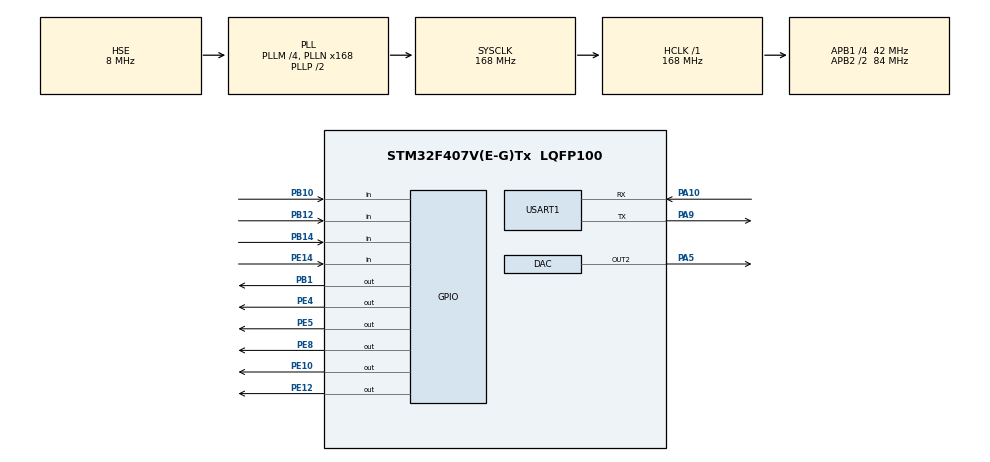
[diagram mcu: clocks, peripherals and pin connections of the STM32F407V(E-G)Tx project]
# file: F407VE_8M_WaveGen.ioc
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Mcu.Family=STM32F4
PE12.GPIO_ModeDefaultOutputPP=GPIO_MODE_OUTPUT_PP
Dma.DAC2.0.MemDataAlignment=DMA_MDATAALIGN_HALFWORD
PE8.PinState=GPIO_PIN_SET
PH0-OSC_IN.Signal=RCC_OSC_IN
PE4.GPIO_ModeDefaultOutputPP=GPIO_MODE_OUTPUT_PP
RCC.CortexFreq_Value=168000000
PB10.GPIO_PuPd=GPIO_PULLDOWN
PE8.GPIO_PuPd=GPIO_PULLUP
PE10.GPIO_PuPd=GPIO_PULLUP
RCC.SYSCLKSource=RCC_SYSCLKSOURCE_PLLCLK
ProjectManager.StackSize=0x400
SH.COMP_DAC2_group.0=DAC_OUT2,DAC_OUT2
Dma.DAC2.0.PeriphInc=DMA_PINC_DISABLE
PE5.GPIO_PuPd=GPIO_PULLUP
PB1.GPIO_PuPd=GPIO_PULLUP
Dma.DAC2.0.Priority=DMA_PRIORITY_LOW
RCC.HCLKFreq_Value=168000000
RCC.APB2TimFreq_Value=168000000
PE5.Signal=GPIO_Output
Dma.DAC2.0.Direction=DMA_MEMORY_TO_PERIPH
RCC.AHBFreq_Value=168000000
PH0-OSC_IN.Mode=HSE-External-Oscillator
RCC.HSE_VALUE=8000000
DAC.DAC_Trigger2=DAC_TRIGGER_T2_TRGO
PC14-OSC32_IN.Mode=LSE-External-Oscillator
PB1.GPIO_Speed=GPIO_SPEED_FREQ_VERY_HIGH
PA14.Mode=Serial_Wire
PE4.GPIO_Speed=GPIO_SPEED_FREQ_VERY_HIGH
PE5.PinState=GPIO_PIN_SET
PE10.GPIO_ModeDefaultOutputPP=GPIO_MODE_OUTPUT_PP
PE10.GPIO_Speed=GPIO_SPEED_FREQ_VERY_HIGH
PE10.Signal=GPIO_Output
PE4.Signal=GPIO_Output
Dma.DAC2.0.MemInc=DMA_MINC_ENABLE
PB1.PinState=GPIO_PIN_SET
PH1-OSC_OUT.Mode=HSE-External-Oscillator
PB12.GPIO_Mode=GPIO_MODE_INPUT
Mcu.Package=LQFP100
PB1.Signal=GPIO_Output
PB14.GPIO_PuPd=GPIO_PULLDOWN
PA10.Signal=USART1_RX
PE12.GPIO_Speed=GPIO_SPEED_FREQ_VERY_HIGH
TIM2.TIM_MasterOutputTrigger=TIM_TRGO_UPDATE
PE8.GPIO_Speed=GPIO_SPEED_FREQ_VERY_HIGH
RCC.APB2CLKDivider=RCC_HCLK_DIV2
RCC.APB1TimFreq_Value=84000000
PE8.GPIO_ModeDefaultOutputPP=GPIO_MODE_OUTPUT_PP
PE14.GPIO_Mode=GPIO_MODE_INPUT
NVIC.USART1_IRQn=true\:0\:0\:false\:false\:true\:true\:true
NVIC.DMA1_Stream6_IRQn=true\:0\:0\:false\:false\:true\:false\:true
Dma.Request0=DAC2
PE12.GPIO_PuPd=GPIO_PULLUP
PE10.PinState=GPIO_PIN_SET
RCC.PLLSourceVirtual=RCC_PLLSOURCE_HSE
PC15-OSC32_OUT.Mode=LSE-External-Oscillator
PA10.Mode=Asynchronous
RCC.APB1CLKDivider=RCC_HCLK_DIV4
PC14-OSC32_IN.Signal=RCC_OSC32_IN
PA13.Signal=SYS_JTMS-SWDIO
PA9.Mode=Asynchronous
PB10.GPIO_Mode=GPIO_MODE_INPUT
ProjectManager.TargetToolchain=MDK-ARM V5.27
PA9.Signal=USART1_TX
PC15-OSC32_OUT.Signal=RCC_OSC32_OUT
PB10.Signal=GPIO_Input
PB14.Signal=GPIO_Input
PA5.Signal=COMP_DAC2_group
board=custom
RCC.VCOOutputFreq_Value=336000000
RCC.APB2Freq_Value=84000000
PE14.Signal=GPIO_Input
VP_TIM2_VS_ClockSourceINT.Mode=Internal
PE8.Signal=GPIO_Output
PH1-OSC_OUT.Signal=RCC_OSC_OUT
Dma.DAC2.0.Instance=DMA1_Stream6
Dma.DAC2.0.PeriphDataAlignment=DMA_PDATAALIGN_HALFWORD
PE14.GPIO_PuPd=GPIO_PULLDOWN
PA13.Mode=Serial_Wire
Mcu.Name=STM32F407V(E-G)Tx
PE12.Signal=GPIO_Output
PE4.GPIO_PuPd=GPIO_PULLUP
PE12.PinState=GPIO_PIN_SET
RCC.48MHZClocksFreq_Value=84000000
RCC.SYSCLKFreq_VALUE=168000000
Dma.DAC2.0.FIFOMode=DMA_FIFOMODE_DISABLE
Dma.DAC2.0.Mode=DMA_CIRCULAR
USART1.VirtualMode=VM_ASYNC
PA14.Signal=SYS_JTCK-SWCLK
ProjectManager.HeapSize=0x200
PE5.GPIO_ModeDefaultOutputPP=GPIO_MODE_OUTPUT_PP
RCC.HSI_VALUE=16000000
NVIC.PriorityGroup=NVIC_PRIORITYGROUP_4
RCC.PLLM=4
RCC.PLLN=168
TIM2.TIM_MasterSlaveMode=TIM_MASTERSLAVEMODE_ENABLE
PE5.GPIO_Speed=GPIO_SPEED_FREQ_VERY_HIGH
PE4.PinState=GPIO_PIN_SET
PB1.GPIO_ModeDefaultOutputPP=GPIO_MODE_OUTPUT_PP
PB12.GPIO_PuPd=GPIO_PULLDOWN
RCC.APB1Freq_Value=42000000
PB14.GPIO_Mode=GPIO_MODE_INPUT
PB12.Signal=GPIO_Input

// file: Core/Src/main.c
/* USER CODE BEGIN Header */
/**
  ******************************************************************************
  * @file           : main.c
  * @brief          : Main program body
  ******************************************************************************
  * @attention
  *
  * <h2><center>&copy; Copyright (c) 2020 STMicroelectronics.
  * All rights reserved.</center></h2>
  *
  * This software component is licensed by ST under BSD 3-Clause license,
  * the "License"; You may not use this file except in compliance with the
  * License. You may obtain a copy of the License at:
  *                        opensource.org/licenses/BSD-3-Clause
  *
  ******************************************************************************
  */
/* USER CODE END Header */
#include "main.h"
#include "dac.h"
#include "dma.h"
#include "tim.h"
#include "usart.h"
#include "gpio.h"

/* USER CODE BEGIN Includes */
#include "DELAY/delay.h"
#include "WAVEGEN/wavegen.h"
#include "KEY/key.h"
/* USER CODE END Includes */

void SystemClock_Config(void);

int main(void)
{
  /* USER CODE BEGIN 1 */
  uint8_t state=0;
  /* USER CODE END 1 */

  /* MCU Configuration--------------------------------------------------------*/

  /* Reset of all peripherals, Initializes the Flash interface and the Systick. */
  HAL_Init();

  /* Configure the system clock */
  SystemClock_Config();

  /* Initialize all configured peripherals */
  MX_GPIO_Init();
  MX_DMA_Init();
  MX_USART1_UART_Init();
  MX_TIM2_Init();
  MX_DAC_Init();
  /* USER CODE BEGIN 2 */
    WaveGen_TimerInit();
    WaveGen_DACInit();
    WaveGen_DMAInit();
    Delay_Init(168);
    Key_Init();
    WaveGen_setDataBuffer(WAVEGEN_WAVETYPE_SINE,4095,WAVEGEN_BUFFER_MAX_SIZE);
  /* USER CODE END 2 */

  /* Infinite loop */
  /* USER CODE BEGIN WHILE */
  uint8_t key;
  while (1)
  {
    /* USER CODE END WHILE */

    /* USER CODE BEGIN 3 */
      Delay_ms(200);
      key=Key_Scan();
      if(key==1)
      {
        state++;
        state%=5;
      }
      if(state==0)
      {
          WaveGen_setPWMState(1);
      }
      else if(state==1)
      {
          WaveGen_setDataBuffer(WAVEGEN_WAVETYPE_SINE,4095,WAVEGEN_BUFFER_MAX_SIZE);
          WaveGen_setPWMState(0);
      }
      else if(state==2)
      {
          WaveGen_setDataBuffer(WAVEGEN_WAVETYPE_RAMP,4095,WAVEGEN_BUFFER_MAX_SIZE);
          WaveGen_setPWMState(0);
      }
      else if(state==3)
      {
          WaveGen_setDataBuffer(WAVEGEN_WAVETYPE_SQUARE,4095,WAVEGEN_BUFFER_MAX_SIZE);
          WaveGen_setPWMState(0);
      }
      else if(state==4)
      {
          WaveGen_setDataBuffer(WAVEGEN_WAVETYPE_TRIANGLE,4095,WAVEGEN_BUFFER_MAX_SIZE);
          WaveGen_setPWMState(0);
      }

  }
  /* USER CODE END 3 */
}

void SystemClock_Config(void)
{
  RCC_OscInitTypeDef RCC_OscInitStruct = {0};
  RCC_ClkInitTypeDef RCC_ClkInitStruct = {0};

  /** Configure the main internal regulator output voltage
  */
  __HAL_RCC_PWR_CLK_ENABLE();
  __HAL_PWR_VOLTAGESCALING_CONFIG(PWR_REGULATOR_VOLTAGE_SCALE1);
  /** Initializes the RCC Oscillators according to the specified parameters
  * in the RCC_OscInitTypeDef structure.
  */
  RCC_OscInitStruct.OscillatorType = RCC_OSCILLATORTYPE_HSE;
  RCC_OscInitStruct.HSEState = RCC_HSE_ON;
  RCC_OscInitStruct.PLL.PLLState = RCC_PLL_ON;
  RCC_OscInitStruct.PLL.PLLSource = RCC_PLLSOURCE_HSE;
  RCC_OscInitStruct.PLL.PLLM = 4;
  RCC_OscInitStruct.PLL.PLLN = 168;
  RCC_OscInitStruct.PLL.PLLP = RCC_PLLP_DIV2;
  RCC_OscInitStruct.PLL.PLLQ = 4;
  if (HAL_RCC_OscConfig(&RCC_OscInitStruct) != HAL_OK)
  {
    Error_Handler();
  }
  /** Initializes the CPU, AHB and APB buses clocks
  */
  RCC_ClkInitStruct.ClockType = RCC_CLOCKTYPE_HCLK|RCC_CLOCKTYPE_SYSCLK
                              |RCC_CLOCKTYPE_PCLK1|RCC_CLOCKTYPE_PCLK2;
  RCC_ClkInitStruct.SYSCLKSource = RCC_SYSCLKSOURCE_PLLCLK;
  RCC_ClkInitStruct.AHBCLKDivider = RCC_SYSCLK_DIV1;
  RCC_ClkInitStruct.APB1CLKDivider = RCC_HCLK_DIV4;
  RCC_ClkInitStruct.APB2CLKDivider = RCC_HCLK_DIV2;

  if (HAL_RCC_ClockConfig(&RCC_ClkInitStruct, FLASH_LATENCY_5) != HAL_OK)
  {
    Error_Handler();
  }
}

void Error_Handler(void)
{
}

/************************ (C) COPYRIGHT STMicroelectronics *****END OF FILE****/
